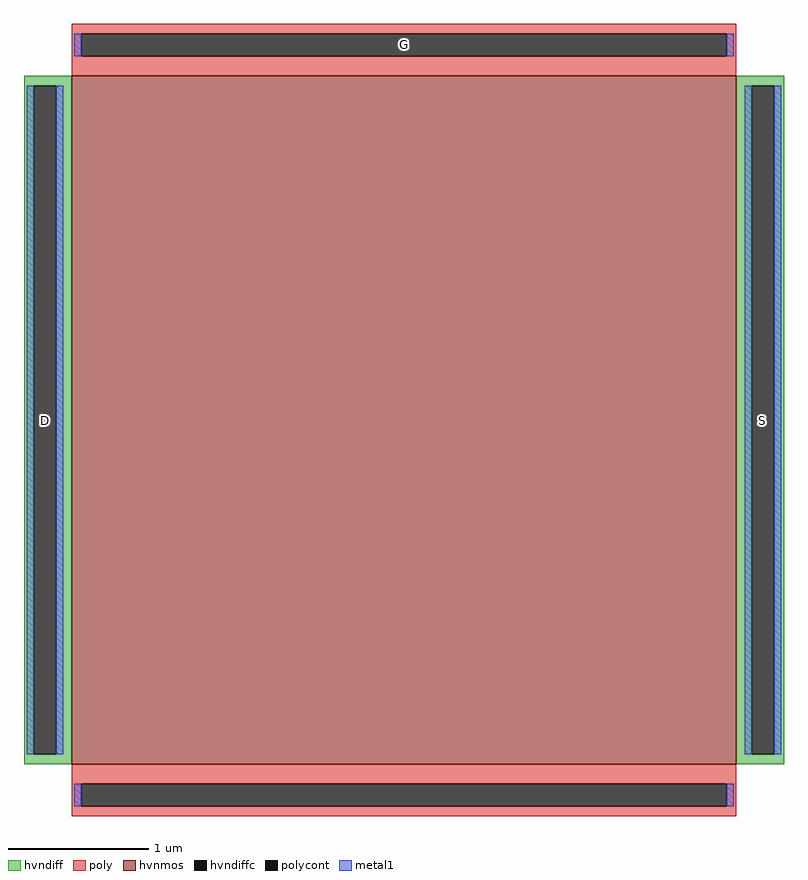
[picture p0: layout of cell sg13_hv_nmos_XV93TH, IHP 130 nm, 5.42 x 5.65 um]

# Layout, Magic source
magic
tech ihp-sg13cmos5l
magscale 1 2
<< hvnmos >>
rect -474 -491 474 491
<< hvndiff >>
rect -542 477 -474 491
rect -542 -477 -528 477
rect -496 -477 -474 477
rect -542 -491 -474 -477
rect 474 477 542 491
rect 474 -477 496 477
rect 528 -477 542 477
rect 474 -491 542 -477
<< hvndiffc >>
rect -528 -477 -496 477
rect 496 -477 528 477
<< poly >>
rect -474 551 474 565
rect -474 519 -460 551
rect 460 519 474 551
rect -474 491 474 519
rect -474 -519 474 -491
rect -474 -551 -460 -519
rect 460 -551 474 -519
rect -474 -565 474 -551
<< polycont >>
rect -460 519 460 551
rect -460 -551 460 -519
<< metal1 >>
rect -470 519 -460 551
rect 460 519 470 551
rect -538 -477 -528 477
rect -496 -477 -486 477
rect 486 -477 496 477
rect 528 -477 538 477
rect -470 -551 -460 -519
rect 460 -551 470 -519
<< labels >>
rlabel hvndiffc -512 0 -512 0 0 D
port 10 nsew
rlabel hvndiffc 512 0 512 0 0 S
port 11 nsew
rlabel polycont 0 535 0 535 0 G
port 12 nsew
<< properties >>
string gencell sg13_hv_nmos
string library sg13cmos5l
string parameters w 4.905 l 4.74 m 1 ng 1 diffcov 100 polycov 100 guard 0 glc 1 grc 1 gtc 1 gbc 1 tbcov 100 rlcov 100 topc 1 botc 1 poverlap 0 doverlap 1 lmin 0.45 wmin 0.15 class mosfet compatible {sg13_lv_nmos sg13_hv_nmos} full_metal 1 conn_gates 0 gate_ring 0 doports 1 viasrc 0 viadrn 0 viagate 0 ccols 1 viagb 0 viagr 0 viagl 0 viagt 0
<< end >>
